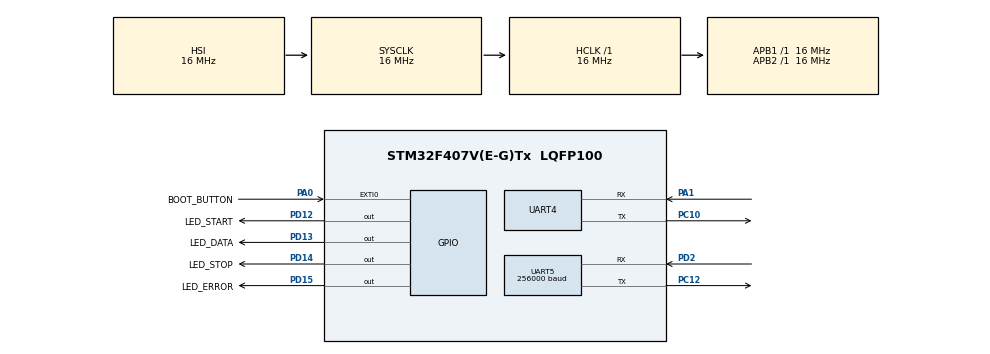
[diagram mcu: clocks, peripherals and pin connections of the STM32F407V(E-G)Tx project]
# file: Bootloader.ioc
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Mcu.Family=STM32F4
PD12.GPIO_Label=LED_START
RCC.CortexFreq_Value=16000000
PD15.GPIO_Label=LED_ERROR
PC10.Signal=UART4_TX
PC12.Signal=UART5_TX
PC10.Mode=Asynchronous
UART5.VirtualMode=Asynchronous
UART4.VirtualMode=Asynchronous
ProjectManager.StackSize=0x400
PA0-WKUP.GPIO_Label=BOOT_BUTTON
PA0-WKUP.Signal=GPXTI0
NVIC.UART5_IRQn=true\:0\:0\:false\:false\:true\:true\:true
PD13.Signal=GPIO_Output
ProjectManager.TargetToolchain=STM32CubeIDE
RCC.LSE_VALUE=32768
PA1.Signal=UART4_RX
RCC.AHBFreq_Value=16000000
PD2.Mode=Asynchronous
RCC.HSE_VALUE=25000000
PC12.Mode=Asynchronous
board=custom
RCC.VCOOutputFreq_Value=192000000
RCC.APB2Freq_Value=16000000
PA1.Mode=Asynchronous
PD14.GPIO_Label=LED_STOP
Mcu.Name=STM32F407V(E-G)Tx
PD14.Signal=GPIO_Output
NVIC.EXTI0_IRQn=true\:0\:0\:false\:false\:true\:true\:true
RCC.SYSCLKFreq_VALUE=16000000
PD13.GPIO_Label=LED_DATA
Mcu.Package=LQFP100
PD12.Signal=GPIO_Output
ProjectManager.HeapSize=0x200
RCC.HSI_VALUE=16000000
NVIC.PriorityGroup=NVIC_PRIORITYGROUP_4
UART5.BaudRate=256000
PD2.Signal=UART5_RX
RCC.APB1Freq_Value=16000000
PD15.Signal=GPIO_Output

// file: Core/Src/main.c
/* USER CODE BEGIN Header */
/**
  ******************************************************************************
  * @file           : main.c
  * @brief          : Main program body
  ******************************************************************************
  * @attention
  *
  * <h2><center>&copy; Copyright (c) 2022 STMicroelectronics.
  * All rights reserved.</center></h2>
  *
  * This software component is licensed by ST under BSD 3-Clause license,
  * the "License"; You may not use this file except in compliance with the
  * License. You may obtain a copy of the License at:
  *                        opensource.org/licenses/BSD-3-Clause
  *
  ******************************************************************************
  */
/* USER CODE END Header */
#include "main.h"
#include "usart.h"
#include "gpio.h"

/* USER CODE BEGIN Includes */
#include "mylib.h"
#include "MyUART.h"

#include "myGPIO.h"
#include "application.h"
/* USER CODE END Includes */

void SystemClock_Config(void);
/* USER CODE BEGIN PFP */
void goto_application(void);
/* USER CODE END PFP */

int main(void)
{

  /* MCU Configuration--------------------------------------------------------*/

  /* Reset of all peripherals, Initializes the Flash interface and the Systick. */
  HAL_Init();

  /* Configure the system clock */
  SystemClock_Config();

  /* Initialize all configured peripherals */
  MX_GPIO_Init();
  MX_UART5_Init();
  MX_UART4_Init();
  /* USER CODE BEGIN 2 */
  HAL_UART_Transmit(&huart4, (uint8_t*)"Staring\r\n", strlen( (char*)"Staring\r\n" ), 500);
  UART_Additional_Init();
  ApplicationBoot_Initial();
  event BootApp_Event;
  //goto_application();
  /* USER CODE END 2 */

  /* Infinite loop */
  while (1)
  {

    /* USER CODE BEGIN 3 */
	  BootApp_Event = ApplicationBoot_Get_Event_from_Queue(BootApp.sQueue, 1);
	  BootApp.Dispatch(BootApp_Event);
  }
  /* USER CODE END 3 */
}

void SystemClock_Config(void)
{
  RCC_OscInitTypeDef RCC_OscInitStruct = {0};
  RCC_ClkInitTypeDef RCC_ClkInitStruct = {0};

  /** Configure the main internal regulator output voltage
  */
  __HAL_RCC_PWR_CLK_ENABLE();
  __HAL_PWR_VOLTAGESCALING_CONFIG(PWR_REGULATOR_VOLTAGE_SCALE1);
  /** Initializes the RCC Oscillators according to the specified parameters
  * in the RCC_OscInitTypeDef structure.
  */
  RCC_OscInitStruct.OscillatorType = RCC_OSCILLATORTYPE_HSI;
  RCC_OscInitStruct.HSIState = RCC_HSI_ON;
  RCC_OscInitStruct.HSICalibrationValue = RCC_HSICALIBRATION_DEFAULT;
  RCC_OscInitStruct.PLL.PLLState = RCC_PLL_NONE;
  if (HAL_RCC_OscConfig(&RCC_OscInitStruct) != HAL_OK)
  {
    Error_Handler();
  }
  /** Initializes the CPU, AHB and APB buses clocks
  */
  RCC_ClkInitStruct.ClockType = RCC_CLOCKTYPE_HCLK|RCC_CLOCKTYPE_SYSCLK
                              |RCC_CLOCKTYPE_PCLK1|RCC_CLOCKTYPE_PCLK2;
  RCC_ClkInitStruct.SYSCLKSource = RCC_SYSCLKSOURCE_HSI;
  RCC_ClkInitStruct.AHBCLKDivider = RCC_SYSCLK_DIV1;
  RCC_ClkInitStruct.APB1CLKDivider = RCC_HCLK_DIV1;
  RCC_ClkInitStruct.APB2CLKDivider = RCC_HCLK_DIV1;

  if (HAL_RCC_ClockConfig(&RCC_ClkInitStruct, FLASH_LATENCY_0) != HAL_OK)
  {
    Error_Handler();
  }
}

/* USER CODE BEGIN 4 */
void BootLoader_Jump (void)
{
	HAL_RCC_DeInit();
//	SysTick->CTRL = 0x0;
//	SysTick->LOAD = 0;

	/* Clear Pending Interrupt Request, turn  off System Tick*/
	HAL_DeInit();

	/* Turn off hard fault handler*/
	SCB->SHCSR &= ~( SCB_SHCSR_USGFAULTENA_Msk |\
	SCB_SHCSR_BUSFAULTENA_Msk | \
	SCB_SHCSR_MEMFAULTENA_Msk ) ;

	/* Set Main Stack Pointer*/
	__set_MSP(*(volatile uint32_t*) (0x08010000));

	__DMB();
	SCB->VTOR = 0x08010000;
	__DSB();

	void (*app_reset_handler)(void) = (void*)(*((volatile uint32_t*) (0x08010000 + 4U)));
	HAL_GPIO_WritePin(LED_START_GPIO_Port, LED_START_Pin, GPIO_PIN_RESET);
	app_reset_handler();

}

 void goto_application(void)
{

  void (*app_reset_handler)(void) = (void*)(*((volatile uint32_t*) (0x08010000 + 4U)));
  app_reset_handler();    //call the app reset handler
}

/* USER CODE END 4 */

void Error_Handler(void)
{
  __disable_irq();
  while (1)
  {
  }
}

/************************ (C) COPYRIGHT STMicroelectronics *****END OF FILE****/
